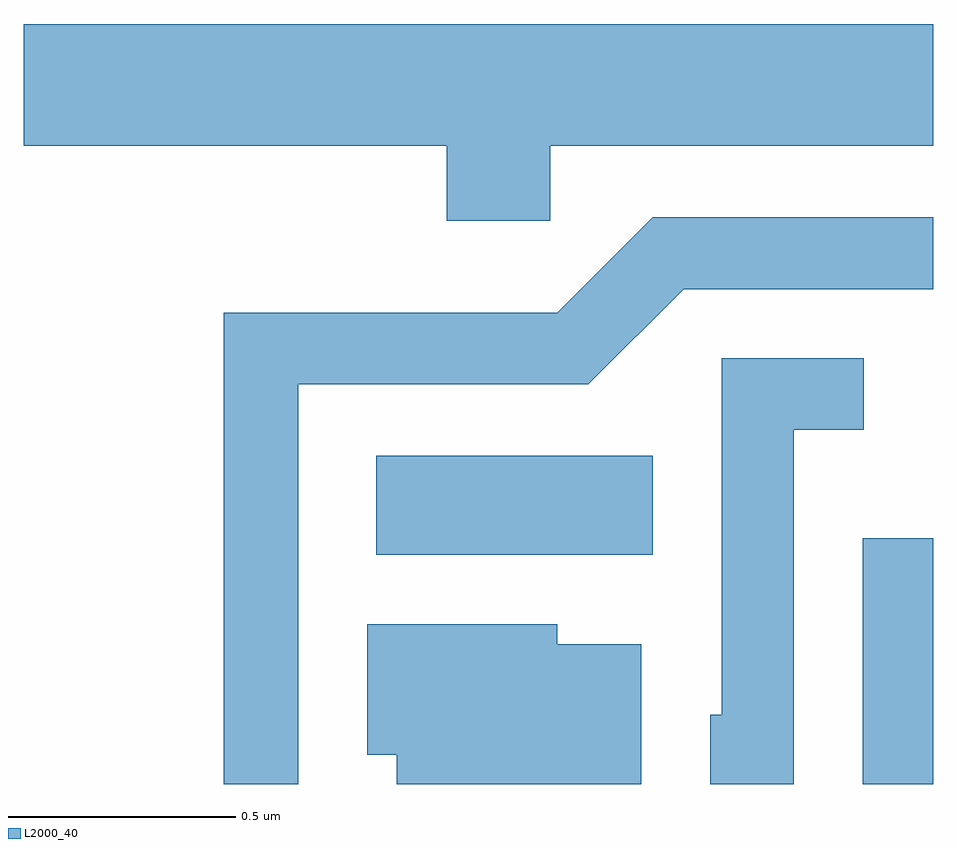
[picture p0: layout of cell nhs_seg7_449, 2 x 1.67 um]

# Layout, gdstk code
import gdstk
lib = gdstk.Library(unit=1e-6, precision=1e-09)
def R(c, l, rs):  # rectangles x0, y0, x1, y1
    for r in rs: c.add(gdstk.rectangle(r[:2], r[2:], *l))
def P(c, l, *ps):  # polygons
    for p in ps: c.add(gdstk.Polygon(p, *l))
L2000_40 = (2000, 40)

nhs_seg7_449 = lib.new_cell('nhs_seg7_449')
R(nhs_seg7_449, L2000_40, [(190.456,1706.252,190.611,1706.793), (189.386,1706.756,189.994,1706.974)])
P(nhs_seg7_449, L2000_40, [(189.769,1707.656),(190.611,1707.656),(190.611,1707.924),(188.611,1707.924),(188.611,1707.656),(189.541,1707.656),(189.541,1707.491),(189.769,1707.491)],
  [(189.214,1707.131),(189.852,1707.131),(190.062,1707.341),(190.611,1707.341),(190.611,1707.499),(189.994,1707.499),(189.784,1707.289),(189.051,1707.289),(189.051,1706.252),(189.214,1706.252)],
  [(190.304,1707.031),(190.458,1707.031),(190.458,1707.189),(190.146,1707.189),(190.146,1706.404),(190.121,1706.404),(190.121,1706.252),(190.304,1706.252)],
  [(189.969,1706.559),(189.784,1706.559),(189.784,1706.604),(189.366,1706.604),(189.366,1706.316),(189.431,1706.316),(189.431,1706.252),(189.969,1706.252)])

lib.write_gds('nhs_seg7_449.gds')
